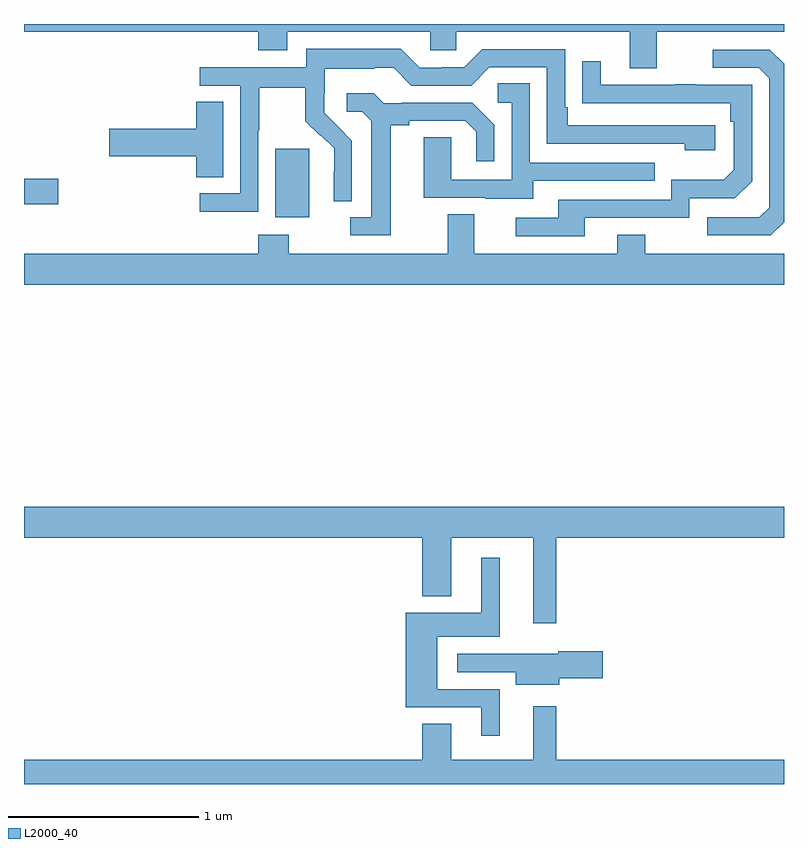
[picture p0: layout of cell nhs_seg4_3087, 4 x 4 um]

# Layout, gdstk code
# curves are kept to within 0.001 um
import gdstk
lib = gdstk.Library(unit=1e-6, precision=1e-09)
def R(c, l, rs):  # rectangles x0, y0, x1, y1
    for r in rs: c.add(gdstk.rectangle(r[:2], r[2:], *l))
def P(c, l, *ps):  # polygons
    for p in ps: c.add(gdstk.Polygon(p, *l))
L2000_40 = (2000, 40)

nhs_seg4_3087 = lib.new_cell('nhs_seg4_3087')
R(nhs_seg4_3087, L2000_40, [(276.323,755.882,276.502,756.243), (275,755.951,275.179,756.086)])
P(nhs_seg4_3087, L2000_40, [(278.329,756.86),(279,756.86),(279,756.9),(275,756.9),(275,756.86),(276.233,756.86),(276.233,756.761),(276.385,756.761),(276.385,756.86),(277.137,756.86),(277.137,756.762),(277.275,756.762),(277.275,756.86),(278.189,756.86),(278.189,756.666),(278.329,756.666)],
  [(276.234,756.34),(276.237,756.34),(276.237,756.564),(276.481,756.564),(276.481,756.389),(276.558,756.312),(276.561,756.315),(276.632,756.245),(276.632,756.122),(276.63,756.122),(276.63,755.968),(276.726,755.968),(276.726,756.286),(276.58,756.434),(276.58,756.531),(276.582,756.531),(276.582,756.665),(276.845,756.665),(276.845,756.669),(276.945,756.669),(277.038,756.576),(277.353,756.576),(277.449,756.672),(277.752,756.672),(277.752,756.27),(278.477,756.27),(278.477,756.236),(278.638,756.236),(278.638,756.366),(277.861,756.366),(277.861,756.463),(277.848,756.463),(277.848,756.768),(277.413,756.768),(277.317,756.672),(277.199,756.672),(277.199,756.669),(277.083,756.669),(276.983,756.769),(276.486,756.769),(276.486,756.672),(275.925,756.672),(275.925,756.576),(276.138,756.576),(276.138,756.009),(275.925,756.009),(275.925,755.911),(276.234,755.911)],
  [(279,755.856),(279,756.69),(278.925,756.765),(278.625,756.765),(278.625,756.669),(278.868,756.669),(278.922,756.615),(278.922,755.934),(278.871,755.883),(278.595,755.883),(278.595,755.787),(278.931,755.787)],
  [(277.951,755.88),(278.502,755.88),(278.502,755.982),(278.742,755.982),(278.832,756.072),(278.832,756.579),(278.537,756.579),(278.537,756.584),(278.425,756.584),(278.425,756.579),(278.035,756.579),(278.035,756.703),(277.939,756.703),(277.939,756.484),(278.716,756.483),(278.716,756.386),(278.736,756.386),(278.736,756.132),(278.683,756.079),(278.406,756.079),(278.406,755.976),(277.811,755.976),(277.811,755.88),(277.587,755.88),(277.587,755.784),(277.951,755.784)],
  [(277.681,756.075),(278.321,756.075),(278.321,756.171),(277.662,756.171),(277.662,756.587),(277.494,756.587),(277.494,756.486),(277.566,756.486),(277.566,756.081),(277.248,756.081),(277.248,756.305),(277.103,756.305),(277.103,755.985),(277.427,755.985),(277.427,755.981),(277.681,755.981)],
  [(276.931,756.368),(277.027,756.368),(277.027,756.39),(277.322,756.39),(277.379,756.333),(277.379,756.177),(277.476,756.177),(277.476,756.37),(277.36,756.486),(276.988,756.486),(276.988,756.483),(276.894,756.483),(276.842,756.535),(276.699,756.535),(276.699,756.438),(276.78,756.438),(276.827,756.391),(276.827,755.883),(276.717,755.883),(276.717,755.787),(276.931,755.787)],
  [(276.049,756.491),(275.906,756.491),(275.906,756.35),(275.448,756.35),(275.448,756.203),(275.906,756.203),(275.906,756.094),(276.049,756.094)],
  [(279,755.692),(278.271,755.692),(278.271,755.791),(278.123,755.791),(278.123,755.692),(277.369,755.692),(277.369,755.9),(277.229,755.9),(277.229,755.692),(276.393,755.692),(276.393,755.791),(276.233,755.791),(276.233,755.692),(275,755.692),(275,755.528),(279,755.528)],
  [(277.801,754.196),(279,754.196),(279,754.36),(275,754.36),(275,754.196),(277.097,754.196),(277.097,753.887),(277.249,753.887),(277.249,754.196),(277.679,754.196),(277.679,753.747),(277.801,753.747)],
  [(277.504,753.399),(277.174,753.399),(277.174,753.674),(277.504,753.674),(277.504,754.09),(277.406,754.09),(277.406,753.802),(277.01,753.802),(277.01,753.303),(277.406,753.303),(277.406,753.153),(277.504,753.153)],
  [(277.816,753.457),(278.047,753.457),(278.047,753.599),(277.812,753.599),(277.812,753.586),(277.593,753.586),(277.593,753.585),(277.281,753.585),(277.281,753.489),(277.589,753.489),(277.589,753.422),(277.816,753.422)],
  [(279,753.028),(277.801,753.028),(277.801,753.31),(277.679,753.31),(277.679,753.028),(277.249,753.028),(277.249,753.218),(277.097,753.218),(277.097,753.028),(275,753.028),(275,752.9),(279,752.9)])

lib.write_gds('nhs_seg4_3087.gds')
